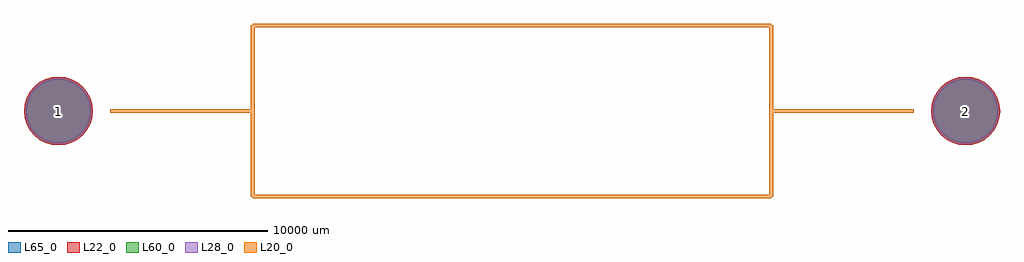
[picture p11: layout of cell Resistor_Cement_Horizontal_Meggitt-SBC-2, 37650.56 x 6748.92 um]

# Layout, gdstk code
import gdstk
lib = gdstk.Library(unit=1e-6, precision=1e-09)
def P(c, l, *ps):  # polygons
    for p in ps: c.add(gdstk.Polygon(p, *l))
L20_0 = (20, 0)
L22_0 = (22, 0)
L28_0 = (28, 0)
L60_0 = (60, 0)
L65_0 = (65, 0)

resistor_cement_horizont = lib.new_cell('Resistor_Cement_Horizontal_Meggitt-SBC-2')
P(resistor_cement_horizont, L22_0, [(18825.28,0),(18799.827,258.432),(18724.445,506.933),(18602.031,735.953),(18437.29,936.69),(18236.553,1101.431),(18007.533,1223.845),(17759.032,1299.227),(17500.6,1324.68),(17242.168,1299.227),(16993.667,1223.845),(16764.647,1101.431),(16563.91,936.69),(16399.169,735.953),(16276.755,506.933),(16201.373,258.432),(16175.92,0),(16201.373,-258.432),(16276.755,-506.933),(16399.169,-735.953),(16563.91,-936.69),(16764.647,-1101.431),(16993.667,-1223.845),(17242.168,-1299.227),(17500.6,-1324.68),(17759.032,-1299.227),(18007.533,-1223.845),(18236.553,-1101.431),(18437.29,-936.69),(18602.031,-735.953),(18724.445,-506.933),(18799.827,-258.432)],
  [(-16175.92,0),(-16201.373,258.432),(-16276.755,506.933),(-16399.169,735.953),(-16563.91,936.69),(-16764.647,1101.431),(-16993.667,1223.845),(-17242.168,1299.227),(-17500.6,1324.68),(-17759.032,1299.227),(-18007.533,1223.845),(-18236.553,1101.431),(-18437.29,936.69),(-18602.031,735.953),(-18724.445,506.933),(-18799.827,258.432),(-18825.28,0),(-18799.827,-258.432),(-18724.445,-506.933),(-18602.031,-735.953),(-18437.29,-936.69),(-18236.553,-1101.431),(-18007.533,-1223.845),(-17759.032,-1299.227),(-17500.6,-1324.68),(-17242.168,-1299.227),(-16993.667,-1223.845),(-16764.647,-1101.431),(-16563.91,-936.69),(-16399.169,-735.953),(-16276.755,-506.933),(-16201.373,-258.432)])
P(resistor_cement_horizont, L28_0, [(18750.28,0),(18726.268,243.8),(18655.154,478.232),(18539.671,694.285),(18384.257,883.657),(18194.885,1039.071),(17978.832,1154.554),(17744.4,1225.668),(17500.6,1249.68),(17256.8,1225.668),(17022.368,1154.554),(16806.315,1039.071),(16616.943,883.657),(16461.529,694.285),(16346.046,478.232),(16274.932,243.8),(16250.92,0),(16274.932,-243.8),(16346.046,-478.232),(16461.529,-694.285),(16616.943,-883.657),(16806.315,-1039.071),(17022.368,-1154.554),(17256.8,-1225.668),(17500.6,-1249.68),(17744.4,-1225.668),(17978.832,-1154.554),(18194.885,-1039.071),(18384.257,-883.657),(18539.671,-694.285),(18655.154,-478.232),(18726.268,-243.8)],
  [(-16250.92,0),(-16274.932,243.8),(-16346.046,478.232),(-16461.529,694.285),(-16616.943,883.657),(-16806.315,1039.071),(-17022.368,1154.554),(-17256.8,1225.668),(-17500.6,1249.68),(-17744.4,1225.668),(-17978.832,1154.554),(-18194.885,1039.071),(-18384.257,883.657),(-18539.671,694.285),(-18655.154,478.232),(-18726.268,243.8),(-18750.28,0),(-18726.268,-243.8),(-18655.154,-478.232),(-18539.671,-694.285),(-18384.257,-883.657),(-18194.885,-1039.071),(-17978.832,-1154.554),(-17744.4,-1225.668),(-17500.6,-1249.68),(-17256.8,-1225.668),(-17022.368,-1154.554),(-16806.315,-1039.071),(-16616.943,-883.657),(-16461.529,-694.285),(-16346.046,-478.232),(-16274.932,-243.8)])
P(resistor_cement_horizont, L60_0, [(18750.28,0),(18726.268,243.8),(18655.154,478.232),(18539.671,694.285),(18384.257,883.657),(18194.885,1039.071),(17978.832,1154.554),(17744.4,1225.668),(17500.6,1249.68),(17256.8,1225.668),(17022.368,1154.554),(16806.315,1039.071),(16616.943,883.657),(16461.529,694.285),(16346.046,478.232),(16274.932,243.8),(16250.92,0),(16274.932,-243.8),(16346.046,-478.232),(16461.529,-694.285),(16616.943,-883.657),(16806.315,-1039.071),(17022.368,-1154.554),(17256.8,-1225.668),(17500.6,-1249.68),(17744.4,-1225.668),(17978.832,-1154.554),(18194.885,-1039.071),(18384.257,-883.657),(18539.671,-694.285),(18655.154,-478.232),(18726.268,-243.8)],
  [(-16250.92,0),(-16274.932,243.8),(-16346.046,478.232),(-16461.529,694.285),(-16616.943,883.657),(-16806.315,1039.071),(-17022.368,1154.554),(-17256.8,1225.668),(-17500.6,1249.68),(-17744.4,1225.668),(-17978.832,1154.554),(-18194.885,1039.071),(-18384.257,883.657),(-18539.671,694.285),(-18655.154,478.232),(-18726.268,243.8),(-18750.28,0),(-18726.268,-243.8),(-18655.154,-478.232),(-18539.671,-694.285),(-18384.257,-883.657),(-18194.885,-1039.071),(-17978.832,-1154.554),(-17744.4,-1225.668),(-17500.6,-1249.68),(-17256.8,-1225.668),(-17022.368,-1154.554),(-16806.315,-1039.071),(-16616.943,-883.657),(-16461.529,-694.285),(-16346.046,-478.232),(-16274.932,-243.8)])
P(resistor_cement_horizont, L65_0, [(18825.28,0),(18799.827,258.432),(18724.445,506.933),(18602.031,735.953),(18437.29,936.69),(18236.553,1101.431),(18007.533,1223.845),(17759.032,1299.227),(17500.6,1324.68),(17242.168,1299.227),(16993.667,1223.845),(16764.647,1101.431),(16563.91,936.69),(16399.169,735.953),(16276.755,506.933),(16201.373,258.432),(16175.92,0),(16201.373,-258.432),(16276.755,-506.933),(16399.169,-735.953),(16563.91,-936.69),(16764.647,-1101.431),(16993.667,-1223.845),(17242.168,-1299.227),(17500.6,-1324.68),(17759.032,-1299.227),(18007.533,-1223.845),(18236.553,-1101.431),(18437.29,-936.69),(18602.031,-735.953),(18724.445,-506.933),(18799.827,-258.432)],
  [(-16175.92,0),(-16201.373,258.432),(-16276.755,506.933),(-16399.169,735.953),(-16563.91,936.69),(-16764.647,1101.431),(-16993.667,1223.845),(-17242.168,1299.227),(-17500.6,1324.68),(-17759.032,1299.227),(-18007.533,1223.845),(-18236.553,1101.431),(-18437.29,936.69),(-18602.031,735.953),(-18724.445,506.933),(-18799.827,258.432),(-18825.28,0),(-18799.827,-258.432),(-18724.445,-506.933),(-18602.031,-735.953),(-18437.29,-936.69),(-18236.553,-1101.431),(-18007.533,-1223.845),(-17759.032,-1299.227),(-17500.6,-1324.68),(-17242.168,-1299.227),(-16993.667,-1223.845),(-16764.647,-1101.431),(-16563.91,-936.69),(-16399.169,-735.953),(-16276.755,-506.933),(-16201.373,-258.432)])
resistor_cement_horizont.add(gdstk.FlexPath([(9999.98,-3299.46),(9999.98,0)], 149.998, ends="flush", simple_path=True, layer=20, datatype=0))  # L20_0
resistor_cement_horizont.add(gdstk.FlexPath([(-9999.98,-3299.46),(9999.98,-3299.46)], 149.998, ends="flush", simple_path=True, layer=20, datatype=0))  # L20_0
resistor_cement_horizont.add(gdstk.FlexPath([(-9999.98,3299.46),(-9999.98,-3299.46)], 149.998, ends="flush", simple_path=True, layer=20, datatype=0))  # L20_0
resistor_cement_horizont.add(gdstk.FlexPath([(9999.98,3299.46),(-9999.98,3299.46)], 149.998, ends="flush", simple_path=True, layer=20, datatype=0))  # L20_0
resistor_cement_horizont.add(gdstk.FlexPath([(9999.98,0),(9999.98,3299.46)], 149.998, ends="flush", simple_path=True, layer=20, datatype=0))  # L20_0
resistor_cement_horizont.add(gdstk.FlexPath([(9999.98,0),(15499.08,0)], 149.998, ends="flush", simple_path=True, layer=20, datatype=0))  # L20_0
resistor_cement_horizont.add(gdstk.FlexPath([(-9999.98,0),(-15499.08,0)], 149.998, ends="flush", simple_path=True, layer=20, datatype=0))  # L20_0
resistor_cement_horizont.add(gdstk.Label('2', (17500.6,0), layer=28, texttype=0))
resistor_cement_horizont.add(gdstk.Label('1', (-17500.6,0), layer=28, texttype=0))
resistor_cement_horizont.add(gdstk.Label('type', (-248.92,-6748.78), layer=9, texttype=0))
resistor_cement_horizont.add(gdstk.Label('devicename', (0,5999.48), layer=9, texttype=0))

lib.write_gds('Resistor_Cement_Horizontal_Meggitt-SBC-2.gds')
